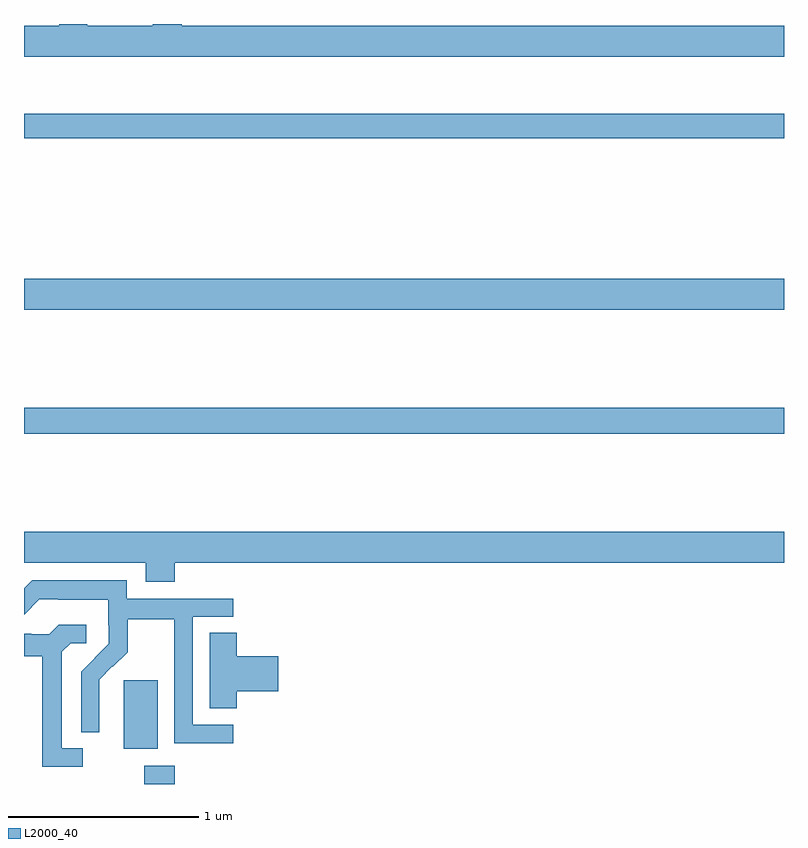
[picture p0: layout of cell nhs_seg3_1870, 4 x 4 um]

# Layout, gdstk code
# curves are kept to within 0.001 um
import gdstk
lib = gdstk.Library(unit=1e-6, precision=1e-09)
def R(c, l, rs):  # rectangles x0, y0, x1, y1
    for r in rs: c.add(gdstk.rectangle(r[:2], r[2:], *l))
def P(c, l, *ps):  # polygons
    for p in ps: c.add(gdstk.Polygon(p, *l))
L2000_40 = (2000, 40)

nhs_seg3_1870 = lib.new_cell('nhs_seg3_1870')
R(nhs_seg3_1870, L2000_40, [(207.634,718.4,207.794,718.495), (207.524,718.586,207.703,718.947), (207,720.244,211,720.38), (207,720.896,211,721.06), (207,721.798,211,721.927)])
P(nhs_seg3_1870, L2000_40, [(211,722.392),(207.83,722.392),(207.83,722.4),(207.677,722.4),(207.677,722.392),(207.333,722.392),(207.333,722.4),(207.185,722.4),(207.185,722.392),(207,722.392),(207,722.228),(211,722.228)],
  [(207.794,719.564),(211,719.564),(211,719.728),(207,719.728),(207,719.564),(207.641,719.564),(207.641,719.465),(207.794,719.465)],
  [(208.102,718.713),(207.888,718.713),(207.888,719.28),(208.102,719.28),(208.102,719.376),(207.54,719.376),(207.54,719.473),(207.043,719.473),(207,719.43),(207,719.292),(207.081,719.373),(207.181,719.373),(207.181,719.369),(207.444,719.369),(207.444,719.235),(207.446,719.235),(207.446,719.138),(207.3,718.99),(207.3,718.672),(207.396,718.672),(207.395,718.949),(207.465,719.019),(207.468,719.016),(207.545,719.093),(207.545,719.268),(207.79,719.268),(207.79,719.044),(207.792,719.044),(207.792,718.615),(208.102,718.615)],
  [(207.31,718.587),(207.199,718.587),(207.199,719.095),(207.246,719.142),(207.328,719.142),(207.328,719.239),(207.184,719.239),(207.132,719.187),(207.038,719.187),(207.038,719.19),(207,719.19),(207,719.072),(207.095,719.072),(207.095,718.491),(207.31,718.491)],
  [(208.121,718.889),(208.339,718.889),(208.339,719.072),(208.121,719.072),(208.121,719.195),(207.977,719.195),(207.977,718.798),(208.121,718.798)])

lib.write_gds('nhs_seg3_1870.gds')
